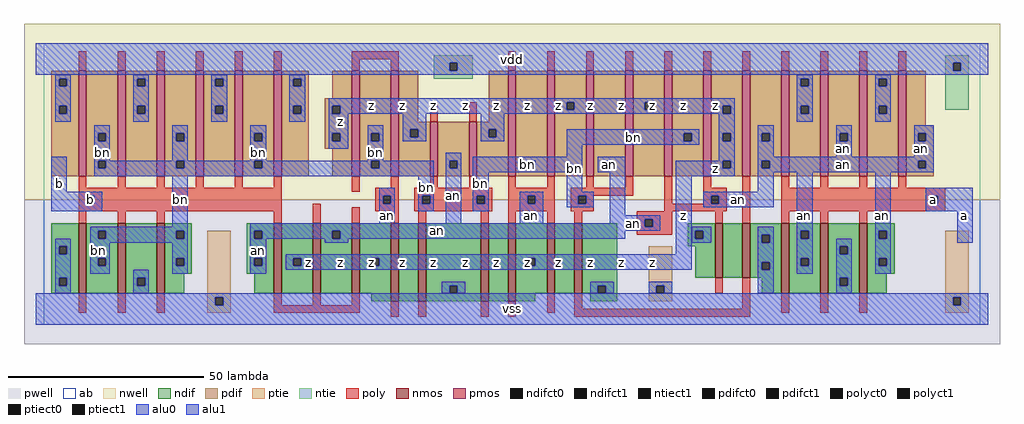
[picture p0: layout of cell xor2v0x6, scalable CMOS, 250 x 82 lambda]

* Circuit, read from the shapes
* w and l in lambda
.subckt xor2v0x6 a an b bn vdd vss z
M1 bn b vss vss nfet w=18 l=2 m=3
M2 z b an vss nfet w=18 l=2 m=3
M3 n1 an z vss nfet w=20 l=2
M4 vss bn n1 vss nfet w=20 l=2
M5 n2 bn vss vss nfet w=20 l=2
M6 z an n2 vss nfet w=20 l=2
M7 n3 an z vss nfet w=18 l=2
M8 vss bn n3 vss nfet w=18 l=2
M9 n4 an z vss nfet w=14 l=2
M10 vss bn n4 vss nfet w=14 l=2
M11 an a vss vss nfet w=18 l=2 m=3
M12 bn b vdd vdd pfet w=27 l=2 m=6
M13 bn an z vdd pfet w=27 l=2 m=6
M14 an bn z vdd pfet w=14 l=2 m=2
M15 an bn z vdd pfet w=27 l=2 m=3
M16 vdd a an vdd pfet w=27 l=2 m=4
.ends

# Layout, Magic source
magic
tech scmos
<< ab >>
rect 0 0 240 72
<< nwell >>
rect -5 32 245 77
<< pwell >>
rect -5 -5 245 32
<< poly >>
rect 9 65 11 70
rect 19 65 21 70
rect 29 65 31 70
rect 39 65 41 70
rect 49 65 51 70
rect 59 65 61 70
rect 79 68 91 70
rect 79 65 81 68
rect 89 65 91 68
rect 119 65 121 70
rect 129 65 131 70
rect 139 65 141 70
rect 149 65 151 70
rect 159 65 161 70
rect 169 65 171 70
rect 179 65 181 70
rect 189 65 191 70
rect 199 65 201 70
rect 209 65 211 70
rect 219 65 221 70
rect 99 52 101 57
rect 109 52 111 57
rect 9 35 11 38
rect 19 35 21 38
rect 29 35 31 38
rect 39 35 41 38
rect 49 35 51 38
rect 59 35 61 38
rect 9 33 61 35
rect 79 34 81 38
rect 89 35 91 38
rect 99 35 101 38
rect 109 35 111 38
rect 119 35 121 38
rect 129 35 131 38
rect 139 35 141 38
rect 149 35 151 38
rect 9 31 11 33
rect 13 31 61 33
rect 85 33 91 35
rect 85 31 87 33
rect 89 31 91 33
rect 9 29 61 31
rect 9 26 11 29
rect 19 26 21 29
rect 29 26 31 29
rect 59 26 61 29
rect 69 26 71 31
rect 79 26 81 30
rect 85 29 91 31
rect 95 33 115 35
rect 95 31 97 33
rect 99 31 111 33
rect 113 31 115 33
rect 95 29 115 31
rect 119 33 131 35
rect 119 31 124 33
rect 126 31 131 33
rect 119 29 131 31
rect 135 33 151 35
rect 135 31 137 33
rect 139 31 141 33
rect 135 29 141 31
rect 159 31 161 38
rect 169 35 171 38
rect 169 33 175 35
rect 169 31 171 33
rect 173 31 175 33
rect 159 29 175 31
rect 89 26 91 29
rect 96 26 98 29
rect 112 26 114 29
rect 119 26 121 29
rect 129 26 131 29
rect 136 26 138 29
rect 152 27 161 29
rect 9 3 11 8
rect 19 3 21 8
rect 29 3 31 8
rect 59 5 61 8
rect 69 5 71 8
rect 79 5 81 8
rect 152 25 154 27
rect 156 25 161 27
rect 172 26 174 29
rect 179 26 181 38
rect 189 35 191 38
rect 199 35 201 38
rect 209 35 211 38
rect 219 35 221 38
rect 189 33 231 35
rect 189 31 227 33
rect 229 31 231 33
rect 189 29 231 31
rect 189 26 191 29
rect 199 26 201 29
rect 209 26 211 29
rect 152 23 161 25
rect 59 3 81 5
rect 89 2 91 6
rect 96 2 98 6
rect 112 2 114 6
rect 119 2 121 6
rect 129 3 131 8
rect 136 4 138 8
rect 172 8 174 12
rect 179 4 181 12
rect 136 2 181 4
rect 189 3 191 8
rect 199 3 201 8
rect 209 3 211 8
<< ndif >>
rect 2 20 9 26
rect 2 18 4 20
rect 6 18 9 20
rect 2 12 9 18
rect 2 10 4 12
rect 6 10 9 12
rect 2 8 9 10
rect 11 24 19 26
rect 11 22 14 24
rect 16 22 19 24
rect 11 17 19 22
rect 11 15 14 17
rect 16 15 19 17
rect 11 8 19 15
rect 21 12 29 26
rect 21 10 24 12
rect 26 10 29 12
rect 21 8 29 10
rect 31 24 38 26
rect 52 24 59 26
rect 31 22 34 24
rect 36 22 38 24
rect 31 17 38 22
rect 31 15 34 17
rect 36 15 38 17
rect 31 13 38 15
rect 31 8 36 13
rect 52 22 54 24
rect 56 22 59 24
rect 52 17 59 22
rect 52 15 54 17
rect 56 15 59 17
rect 52 13 59 15
rect 54 8 59 13
rect 61 17 69 26
rect 61 15 64 17
rect 66 15 69 17
rect 61 8 69 15
rect 71 24 79 26
rect 71 22 74 24
rect 76 22 79 24
rect 71 8 79 22
rect 81 17 89 26
rect 81 15 84 17
rect 86 15 89 17
rect 81 8 89 15
rect 84 6 89 8
rect 91 6 96 26
rect 98 10 112 26
rect 98 8 104 10
rect 106 8 112 10
rect 98 6 112 8
rect 114 6 119 26
rect 121 17 129 26
rect 121 15 124 17
rect 126 15 129 17
rect 121 8 129 15
rect 131 8 136 26
rect 138 10 147 26
rect 165 24 172 26
rect 165 22 167 24
rect 169 22 172 24
rect 165 20 172 22
rect 138 8 142 10
rect 144 8 147 10
rect 121 6 126 8
rect 140 6 147 8
rect 167 12 172 20
rect 174 12 179 26
rect 181 23 189 26
rect 181 21 184 23
rect 186 21 189 23
rect 181 16 189 21
rect 181 14 184 16
rect 186 14 189 16
rect 181 12 189 14
rect 184 8 189 12
rect 191 24 199 26
rect 191 22 194 24
rect 196 22 199 24
rect 191 17 199 22
rect 191 15 194 17
rect 196 15 199 17
rect 191 8 199 15
rect 201 20 209 26
rect 201 18 204 20
rect 206 18 209 20
rect 201 12 209 18
rect 201 10 204 12
rect 206 10 209 12
rect 201 8 209 10
rect 211 24 218 26
rect 211 22 214 24
rect 216 22 218 24
rect 211 17 218 22
rect 211 15 214 17
rect 216 15 218 17
rect 211 13 218 15
rect 211 8 216 13
<< pdif >>
rect 2 63 9 65
rect 2 61 4 63
rect 6 61 9 63
rect 2 56 9 61
rect 2 54 4 56
rect 6 54 9 56
rect 2 38 9 54
rect 11 49 19 65
rect 11 47 14 49
rect 16 47 19 49
rect 11 42 19 47
rect 11 40 14 42
rect 16 40 19 42
rect 11 38 19 40
rect 21 63 29 65
rect 21 61 24 63
rect 26 61 29 63
rect 21 56 29 61
rect 21 54 24 56
rect 26 54 29 56
rect 21 38 29 54
rect 31 49 39 65
rect 31 47 34 49
rect 36 47 39 49
rect 31 42 39 47
rect 31 40 34 42
rect 36 40 39 42
rect 31 38 39 40
rect 41 63 49 65
rect 41 61 44 63
rect 46 61 49 63
rect 41 56 49 61
rect 41 54 44 56
rect 46 54 49 56
rect 41 38 49 54
rect 51 49 59 65
rect 51 47 54 49
rect 56 47 59 49
rect 51 42 59 47
rect 51 40 54 42
rect 56 40 59 42
rect 51 38 59 40
rect 61 63 68 65
rect 61 61 64 63
rect 66 61 68 63
rect 61 56 68 61
rect 74 58 79 65
rect 61 54 64 56
rect 66 54 68 56
rect 61 38 68 54
rect 72 56 79 58
rect 72 54 74 56
rect 76 54 79 56
rect 72 49 79 54
rect 72 47 74 49
rect 76 47 79 49
rect 72 45 79 47
rect 74 38 79 45
rect 81 49 89 65
rect 81 47 84 49
rect 86 47 89 49
rect 81 42 89 47
rect 81 40 84 42
rect 86 40 89 42
rect 81 38 89 40
rect 91 52 96 65
rect 114 52 119 65
rect 91 50 99 52
rect 91 48 94 50
rect 96 48 99 50
rect 91 38 99 48
rect 101 42 109 52
rect 101 40 104 42
rect 106 40 109 42
rect 101 38 109 40
rect 111 50 119 52
rect 111 48 114 50
rect 116 48 119 50
rect 111 38 119 48
rect 121 42 129 65
rect 121 40 124 42
rect 126 40 129 42
rect 121 38 129 40
rect 131 57 139 65
rect 131 55 134 57
rect 136 55 139 57
rect 131 38 139 55
rect 141 42 149 65
rect 141 40 144 42
rect 146 40 149 42
rect 141 38 149 40
rect 151 57 159 65
rect 151 55 154 57
rect 156 55 159 57
rect 151 38 159 55
rect 161 49 169 65
rect 161 47 164 49
rect 166 47 169 49
rect 161 38 169 47
rect 171 56 179 65
rect 171 54 174 56
rect 176 54 179 56
rect 171 49 179 54
rect 171 47 174 49
rect 176 47 179 49
rect 171 42 179 47
rect 171 40 174 42
rect 176 40 179 42
rect 171 38 179 40
rect 181 49 189 65
rect 181 47 184 49
rect 186 47 189 49
rect 181 42 189 47
rect 181 40 184 42
rect 186 40 189 42
rect 181 38 189 40
rect 191 63 199 65
rect 191 61 194 63
rect 196 61 199 63
rect 191 56 199 61
rect 191 54 194 56
rect 196 54 199 56
rect 191 38 199 54
rect 201 49 209 65
rect 201 47 204 49
rect 206 47 209 49
rect 201 42 209 47
rect 201 40 204 42
rect 206 40 209 42
rect 201 38 209 40
rect 211 63 219 65
rect 211 61 214 63
rect 216 61 219 63
rect 211 56 219 61
rect 211 54 214 56
rect 216 54 219 56
rect 211 38 219 54
rect 221 51 226 65
rect 221 49 228 51
rect 221 47 224 49
rect 226 47 228 49
rect 221 42 228 47
rect 221 40 224 42
rect 226 40 228 42
rect 221 38 228 40
<< alu1 >>
rect -2 67 242 72
rect -2 65 104 67
rect 106 65 233 67
rect 235 65 242 67
rect -2 64 242 65
rect 73 57 177 58
rect 73 56 134 57
rect 73 54 74 56
rect 76 55 134 56
rect 136 55 154 57
rect 156 56 177 57
rect 156 55 174 56
rect 76 54 174 55
rect 176 54 177 56
rect 2 34 6 43
rect 73 49 78 54
rect 73 47 74 49
rect 76 47 78 49
rect 73 45 78 47
rect 92 50 98 54
rect 92 48 94 50
rect 96 48 98 50
rect 92 47 98 48
rect 112 50 118 54
rect 112 48 114 50
rect 116 48 118 50
rect 112 47 118 48
rect 173 49 177 54
rect 173 47 174 49
rect 176 47 177 49
rect 2 33 15 34
rect 2 31 11 33
rect 13 31 15 33
rect 2 29 15 31
rect 173 42 177 47
rect 162 40 174 42
rect 176 40 177 42
rect 162 38 177 40
rect 162 18 166 38
rect 62 17 166 18
rect 62 15 64 17
rect 66 15 84 17
rect 86 15 124 17
rect 126 15 166 17
rect 62 14 166 15
rect 226 33 238 35
rect 226 31 227 33
rect 229 31 238 33
rect 226 29 238 31
rect 234 21 238 29
rect -2 7 242 8
rect -2 5 44 7
rect 46 5 233 7
rect 235 5 242 7
rect -2 0 242 5
<< ptie >>
rect 42 7 48 24
rect 42 5 44 7
rect 46 5 48 7
rect 42 3 48 5
rect 155 10 161 20
rect 155 8 157 10
rect 159 8 161 10
rect 155 6 161 8
rect 231 7 237 24
rect 231 5 233 7
rect 235 5 237 7
rect 231 3 237 5
<< ntie >>
rect 100 67 110 69
rect 100 65 104 67
rect 106 65 110 67
rect 231 67 237 69
rect 231 65 233 67
rect 235 65 237 67
rect 100 63 110 65
rect 231 55 237 65
<< nmos >>
rect 9 8 11 26
rect 19 8 21 26
rect 29 8 31 26
rect 59 8 61 26
rect 69 8 71 26
rect 79 8 81 26
rect 89 6 91 26
rect 96 6 98 26
rect 112 6 114 26
rect 119 6 121 26
rect 129 8 131 26
rect 136 8 138 26
rect 172 12 174 26
rect 179 12 181 26
rect 189 8 191 26
rect 199 8 201 26
rect 209 8 211 26
<< pmos >>
rect 9 38 11 65
rect 19 38 21 65
rect 29 38 31 65
rect 39 38 41 65
rect 49 38 51 65
rect 59 38 61 65
rect 79 38 81 65
rect 89 38 91 65
rect 99 38 101 52
rect 109 38 111 52
rect 119 38 121 65
rect 129 38 131 65
rect 139 38 141 65
rect 149 38 151 65
rect 159 38 161 65
rect 169 38 171 65
rect 179 38 181 65
rect 189 38 191 65
rect 199 38 201 65
rect 209 38 211 65
rect 219 38 221 65
<< polyct0 >>
rect 87 31 89 33
rect 97 31 99 33
rect 111 31 113 33
rect 124 31 126 33
rect 137 31 139 33
rect 171 31 173 33
rect 154 25 156 27
<< polyct1 >>
rect 11 31 13 33
rect 227 31 229 33
<< ndifct0 >>
rect 4 18 6 20
rect 4 10 6 12
rect 14 22 16 24
rect 14 15 16 17
rect 24 10 26 12
rect 34 22 36 24
rect 34 15 36 17
rect 54 22 56 24
rect 54 15 56 17
rect 74 22 76 24
rect 104 8 106 10
rect 167 22 169 24
rect 142 8 144 10
rect 184 21 186 23
rect 184 14 186 16
rect 194 22 196 24
rect 194 15 196 17
rect 204 18 206 20
rect 204 10 206 12
rect 214 22 216 24
rect 214 15 216 17
<< ndifct1 >>
rect 64 15 66 17
rect 84 15 86 17
rect 124 15 126 17
<< ntiect1 >>
rect 104 65 106 67
rect 233 65 235 67
<< ptiect0 >>
rect 157 8 159 10
<< ptiect1 >>
rect 44 5 46 7
rect 233 5 235 7
<< pdifct0 >>
rect 4 61 6 63
rect 4 54 6 56
rect 14 47 16 49
rect 14 40 16 42
rect 24 61 26 63
rect 24 54 26 56
rect 34 47 36 49
rect 34 40 36 42
rect 44 61 46 63
rect 44 54 46 56
rect 54 47 56 49
rect 54 40 56 42
rect 64 61 66 63
rect 64 54 66 56
rect 84 47 86 49
rect 84 40 86 42
rect 104 40 106 42
rect 124 40 126 42
rect 144 40 146 42
rect 164 47 166 49
rect 184 47 186 49
rect 184 40 186 42
rect 194 61 196 63
rect 194 54 196 56
rect 204 47 206 49
rect 204 40 206 42
rect 214 61 216 63
rect 214 54 216 56
rect 224 47 226 49
rect 224 40 226 42
<< pdifct1 >>
rect 74 54 76 56
rect 74 47 76 49
rect 94 48 96 50
rect 114 48 116 50
rect 134 55 136 57
rect 154 55 156 57
rect 174 54 176 56
rect 174 47 176 49
rect 174 40 176 42
<< alu0 >>
rect 3 63 7 64
rect 3 61 4 63
rect 6 61 7 63
rect 3 56 7 61
rect 3 54 4 56
rect 6 54 7 56
rect 3 52 7 54
rect 23 63 27 64
rect 23 61 24 63
rect 26 61 27 63
rect 23 56 27 61
rect 23 54 24 56
rect 26 54 27 56
rect 23 52 27 54
rect 43 63 47 64
rect 43 61 44 63
rect 46 61 47 63
rect 43 56 47 61
rect 43 54 44 56
rect 46 54 47 56
rect 43 52 47 54
rect 63 63 67 64
rect 63 61 64 63
rect 66 61 67 63
rect 63 56 67 61
rect 193 63 197 64
rect 193 61 194 63
rect 196 61 197 63
rect 63 54 64 56
rect 66 54 67 56
rect 63 52 67 54
rect 13 49 17 51
rect 13 47 14 49
rect 16 47 17 49
rect 13 42 17 47
rect 33 49 37 51
rect 33 47 34 49
rect 36 47 37 49
rect 33 42 37 47
rect 53 49 57 51
rect 53 47 54 49
rect 56 47 57 49
rect 53 42 57 47
rect 83 49 87 51
rect 83 47 84 49
rect 86 47 87 49
rect 134 49 168 50
rect 134 47 164 49
rect 166 47 168 49
rect 83 42 87 47
rect 134 46 168 47
rect 193 56 197 61
rect 193 54 194 56
rect 196 54 197 56
rect 193 52 197 54
rect 213 63 217 64
rect 213 61 214 63
rect 216 61 217 63
rect 213 56 217 61
rect 213 54 214 56
rect 216 54 217 56
rect 213 52 217 54
rect 103 42 107 44
rect 134 43 138 46
rect 13 40 14 42
rect 16 40 34 42
rect 36 40 54 42
rect 56 40 84 42
rect 86 40 100 42
rect 13 38 100 40
rect 33 25 37 38
rect 86 33 90 35
rect 86 31 87 33
rect 89 31 90 33
rect 86 26 90 31
rect 96 33 100 38
rect 96 31 97 33
rect 99 31 100 33
rect 96 29 100 31
rect 103 40 104 42
rect 106 40 107 42
rect 103 26 107 40
rect 110 42 138 43
rect 110 40 124 42
rect 126 40 138 42
rect 110 39 138 40
rect 142 42 149 43
rect 142 40 144 42
rect 146 40 149 42
rect 142 39 149 40
rect 110 33 114 39
rect 134 34 138 39
rect 110 31 111 33
rect 113 31 114 33
rect 110 29 114 31
rect 122 33 128 34
rect 122 31 124 33
rect 126 31 128 33
rect 122 26 128 31
rect 134 33 141 34
rect 134 31 137 33
rect 139 31 141 33
rect 134 30 141 31
rect 145 28 149 39
rect 183 49 187 51
rect 183 47 184 49
rect 186 47 187 49
rect 183 43 187 47
rect 203 49 207 51
rect 203 47 204 49
rect 206 47 207 49
rect 203 43 207 47
rect 223 49 228 51
rect 223 47 224 49
rect 226 47 228 49
rect 223 43 228 47
rect 183 42 228 43
rect 183 40 184 42
rect 186 40 204 42
rect 206 40 224 42
rect 226 40 228 42
rect 183 39 228 40
rect 145 27 158 28
rect 145 26 154 27
rect 12 24 37 25
rect 12 22 14 24
rect 16 22 34 24
rect 36 22 37 24
rect 3 20 7 22
rect 3 18 4 20
rect 6 18 7 20
rect 3 12 7 18
rect 12 21 37 22
rect 12 17 17 21
rect 12 15 14 17
rect 16 15 17 17
rect 12 13 17 15
rect 33 17 37 21
rect 33 15 34 17
rect 36 15 37 17
rect 3 10 4 12
rect 6 10 7 12
rect 3 8 7 10
rect 23 12 27 14
rect 33 13 37 15
rect 53 25 154 26
rect 156 25 158 27
rect 53 24 158 25
rect 53 22 54 24
rect 56 22 74 24
rect 76 22 149 24
rect 53 17 57 22
rect 72 21 78 22
rect 183 34 187 39
rect 169 33 187 34
rect 169 31 171 33
rect 173 31 187 33
rect 169 30 187 31
rect 166 24 171 25
rect 166 22 167 24
rect 169 22 171 24
rect 166 21 171 22
rect 183 23 187 25
rect 183 21 184 23
rect 186 21 187 23
rect 53 15 54 17
rect 56 15 57 17
rect 53 13 57 15
rect 183 16 187 21
rect 183 14 184 16
rect 186 14 187 16
rect 23 10 24 12
rect 26 10 27 12
rect 23 8 27 10
rect 102 10 108 11
rect 102 8 104 10
rect 106 8 108 10
rect 140 10 146 11
rect 140 8 142 10
rect 144 8 146 10
rect 155 10 161 11
rect 155 8 157 10
rect 159 8 161 10
rect 183 8 187 14
rect 193 24 197 39
rect 193 22 194 24
rect 196 22 197 24
rect 213 24 217 39
rect 213 22 214 24
rect 216 22 217 24
rect 193 17 197 22
rect 193 15 194 17
rect 196 15 197 17
rect 193 13 197 15
rect 203 20 207 22
rect 203 18 204 20
rect 206 18 207 20
rect 203 12 207 18
rect 213 17 217 22
rect 213 15 214 17
rect 216 15 217 17
rect 213 13 217 15
rect 203 10 204 12
rect 206 10 207 12
rect 203 8 207 10
<< labels >>
rlabel alu0 55 19 55 19 6 an
rlabel alu0 14 19 14 19 6 bn
rlabel alu0 55 44 55 44 6 bn
rlabel alu0 15 44 15 44 6 bn
rlabel alu0 35 32 35 32 6 bn
rlabel alu0 88 28 88 28 6 an
rlabel alu0 85 44 85 44 6 bn
rlabel alu0 105 33 105 33 6 an
rlabel alu0 98 35 98 35 6 bn
rlabel alu0 112 36 112 36 6 bn
rlabel alu0 101 24 101 24 6 an
rlabel alu0 125 28 125 28 6 an
rlabel alu0 151 26 151 26 6 an
rlabel alu0 136 40 136 40 6 bn
rlabel alu0 124 41 124 41 6 bn
rlabel pdifct0 145 41 145 41 6 an
rlabel alu0 151 48 151 48 6 bn
rlabel alu0 178 32 178 32 6 an
rlabel alu0 215 28 215 28 6 an
rlabel alu0 195 28 195 28 6 an
rlabel pdifct0 205 41 205 41 6 an
rlabel alu0 225 45 225 45 6 an
rlabel alu0 205 45 205 45 6 an
rlabel polyct1 12 32 12 32 6 b
rlabel alu1 4 36 4 36 6 b
rlabel alu1 92 16 92 16 6 z
rlabel alu1 84 16 84 16 6 z
rlabel alu1 76 16 76 16 6 z
rlabel alu1 68 16 68 16 6 z
rlabel alu1 76 52 76 52 6 z
rlabel alu1 92 56 92 56 6 z
rlabel alu1 84 56 84 56 6 z
rlabel alu1 120 4 120 4 6 vss
rlabel alu1 100 16 100 16 6 z
rlabel alu1 108 16 108 16 6 z
rlabel alu1 116 16 116 16 6 z
rlabel alu1 124 16 124 16 6 z
rlabel alu1 132 16 132 16 6 z
rlabel alu1 140 16 140 16 6 z
rlabel alu1 140 56 140 56 6 z
rlabel alu1 132 56 132 56 6 z
rlabel alu1 124 56 124 56 6 z
rlabel alu1 116 56 116 56 6 z
rlabel alu1 108 56 108 56 6 z
rlabel alu1 100 56 100 56 6 z
rlabel alu1 120 68 120 68 6 vdd
rlabel alu1 156 16 156 16 6 z
rlabel alu1 148 16 148 16 6 z
rlabel alu1 164 28 164 28 6 z
rlabel alu1 172 40 172 40 6 z
rlabel alu1 172 56 172 56 6 z
rlabel alu1 164 56 164 56 6 z
rlabel alu1 156 56 156 56 6 z
rlabel alu1 148 56 148 56 6 z
rlabel polyct1 228 32 228 32 6 a
rlabel alu1 236 28 236 28 6 a
<< end >>
